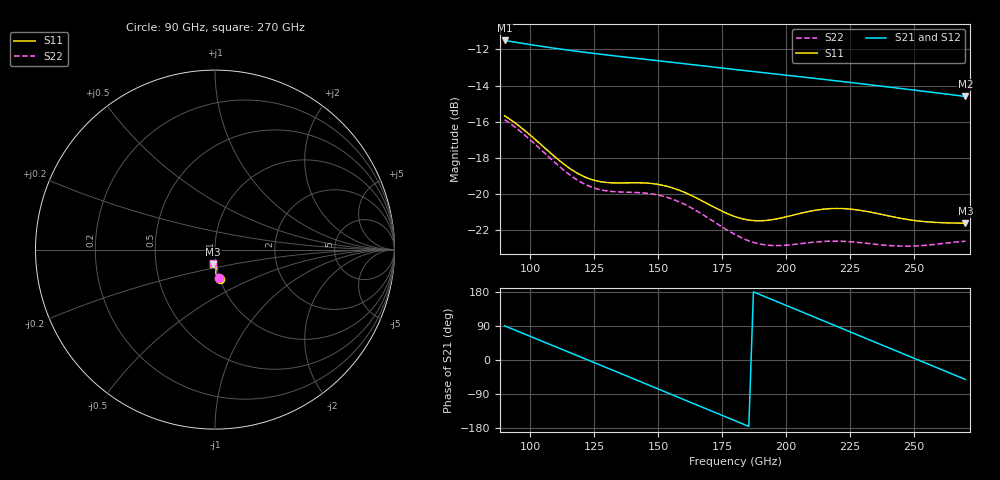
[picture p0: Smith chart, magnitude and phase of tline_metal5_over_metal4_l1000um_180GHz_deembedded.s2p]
! Created with skrf 2.0.1 (http://scikit-rf.org).
# GHz S DB R 50.0
!freq dBS11 angS11 dBS21 angS21 dBS12 angS12 dBS22 angS22
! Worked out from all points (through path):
!   101 points, 90 GHz to 270 GHz, reference 50 ohm
!   highest |S21| = -11.50 dB at 90 GHz (marker M1); lowest = -14.6 dB at 270 GHz (marker M2)
!   group delay of S21, straight-line fit = 7.74 ps
!   lowest |S11| = -21.6 dB at 270 GHz (marker M3), VSWR 1.18, Z = 48.4 - j8.03 ohm
!   |S11| at or under -10 dB: start of sweep to end of sweep
!   |S22| runs from -22.9 to -15.9 dB; largest |S21 - S12| = 2.4e-13
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90  -15.67 -81.1  -11.50 90.2  -11.50 90.2  -15.88 -81.1
97.2  -16.41 -84.9  -11.67 70.2  -11.67 70.2  -16.66 -85.1
106.2  -17.52 -87.8  -11.86 45.3  -11.86 45.3  -17.81 -88.1
113.4  -18.37 -87.9  -12.01 25.3  -12.01 25.3  -18.72 -88.4
120.6  -19.01 -86.5  -12.14 5.3  -12.14 5.3  -19.41 -87.1
127.8  -19.33 -84.7  -12.27 -14.6  -12.27 -14.6  -19.78 -85.5
135  -19.39 -83.9  -12.39 -34.7  -12.39 -34.7  -19.89 -84.8
144  -19.39 -85.1  -12.53 -59.7  -12.53 -59.7  -19.94 -86.3
151.2  -19.50 -87.3  -12.64 -79.8  -12.64 -79.8  -20.10 -88.8
163.8  -20.14 -91.2  -12.85 -115.0  -12.85 -115.0  -20.84 -93.5
172.8  -20.80 -91.9  -12.99 -140.1  -12.99 -140.1  -21.63 -95.0
180  -21.25 -90.7  -13.11 -160.2  -13.11 -160.2  -22.25 -94.5
187.2  -21.47 -88.6  -13.22 179.7  -13.22 179.7  -22.68 -92.7
194.4  -21.43 -86.8  -13.34 159.6  -13.34 159.6  -22.85 -90.6
203.4  -21.15 -86.2  -13.48 134.5  -13.48 134.5  -22.79 -89.1
210.6  -20.92 -87.3  -13.59 114.4  -13.59 114.4  -22.67 -89.2
217.8  -20.81 -89.3  -13.71 94.3  -13.71 94.3  -22.61 -90.2
225  -20.84 -91.5  -13.83 74.2  -13.83 74.2  -22.65 -91.5
241.2  -21.25 -94.9  -14.10 29.0  -14.10 29.0  -22.86 -93.4
248.4  -21.44 -95.5  -14.22 8.9  -14.22 8.9  -22.89 -93.7
255.6  -21.55 -95.7  -14.35 -11.2  -14.35 -11.2  -22.83 -94.3
270  -21.62 -96.7  -14.60 -51.4  -14.60 -51.4  -22.62 -97.2
